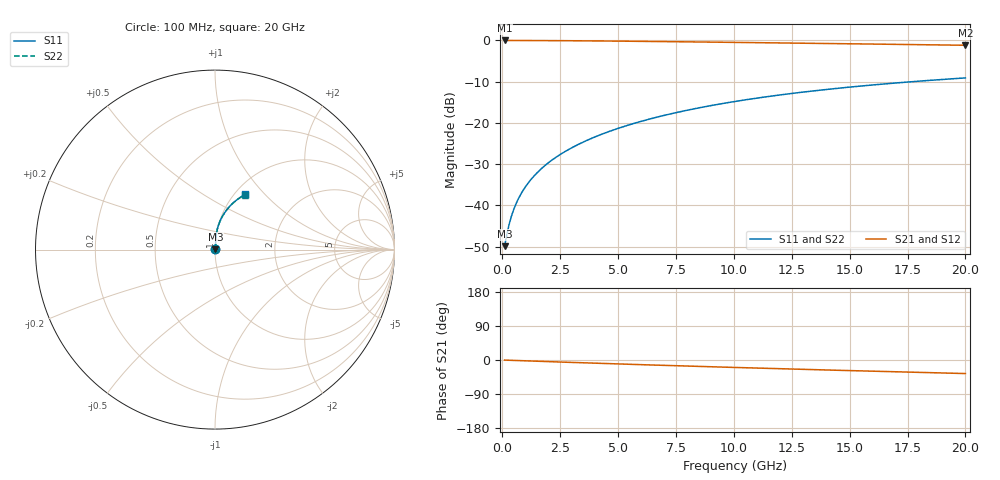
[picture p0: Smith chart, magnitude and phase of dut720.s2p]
! Touchstone file exported from HFSS 2024.1.0
!  File:  C:/UserFiles/LocalFiles/RDL_TSV_Batchsim/temp_RDL_bottom_720_1779858438.aedt
!  Generated:  01:09:50 PM May 27, 2026
!  Design:  RDL_bottom
!  Project:  temp_RDL_bottom_720_1779858438
!  Setup:  Setup1
!  Solution:  Sweep
! Variables:
!  dtsv = 10.80580581um
!  hbump = 3um
!  htsv = 65.03um
!  ldown = 473.03um
!  lrdl = 100um
!  p = 40
!  p1 = 55.29um
!  rhole = 1um
!  t = 450um
!  tdown = 2.98um
!  trdl = 3.915915916um
!  wdown = 23.44um
!  wrdl = 20um
# GHz S MA R 50.000000
! Terminal data exported
! Port[1] = RDL1_T1
! Port[2] = RDL1_T2
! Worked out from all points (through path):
!   200 points, 100 MHz to 20 GHz, reference 50 ohm
!   highest |S21| = -0.02 dB at 100 MHz (marker M1); lowest = -1.2 dB at 20 GHz (marker M2)
!   group delay of S21, straight-line fit = 4.92 ps
!   lowest |S11| = -49.9 dB at 100 MHz (marker M3), VSWR 1.01, Z = 50.3 + j0.18 ohm
!   |S11| at or under -10 dB: start of sweep to 17.74 GHz
!   |S22| runs from -49.9 to -9.1 dB; largest |S21 - S12| = 2.2e-15
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0.1  0.003195 34.0  0.9973 -0.2  0.9973 -0.2  0.003195 34.0
! Gamma 0 0 0 0
! Port Impedance 50 0 50 0
0.2  0.004475 52.1  0.9972 -0.4  0.9972 -0.4  0.004475 52.1
0.3  0.005949 61.1  0.9971 -0.7  0.9971 -0.7  0.005949 61.1
0.4  0.007466 66.4  0.9969 -0.9  0.9969 -0.9  0.007466 66.4
0.5  0.008994 70.0  0.9967 -1.1  0.9967 -1.1  0.008994 70.0
0.6  0.01053 72.6  0.9965 -1.3  0.9965 -1.3  0.01053 72.6
0.8  0.01362 76.2  0.9962 -1.7  0.9962 -1.7  0.01363 76.2
1.1  0.01834 79.5  0.9957 -2.4  0.9957 -2.4  0.01834 79.5
1.3  0.02153 81.0  0.9953 -2.8  0.9953 -2.8  0.02153 81.0
1.6  0.02638 82.5  0.9945 -3.4  0.9945 -3.4  0.02638 82.5
2.1  0.0346 84.1  0.9931 -4.5  0.9931 -4.5  0.03459 84.1
2.7  0.04469 85.1  0.9909 -5.7  0.9909 -5.7  0.04469 85.1
3.5  0.05854 85.6  0.9873 -7.4  0.9873 -7.4  0.05854 85.6
4.2  0.07102 85.5  0.9837 -8.8  0.9837 -8.8  0.07101 85.5
5  0.08563 85.1  0.9792 -10.4  0.9792 -10.4  0.08562 85.1
5.9  0.1024 84.3  0.9736 -12.1  0.9736 -12.1  0.1024 84.3
6.8  0.1195 83.2  0.9677 -13.8  0.9677 -13.8  0.1195 83.2
8.4  0.1501 80.9  0.9568 -16.8  0.9568 -16.8  0.1501 80.9
10.1  0.1826 78.1  0.9448 -19.8  0.9448 -19.8  0.1825 78.1
13.4  0.2433 72.3  0.9209 -25.4  0.9209 -25.4  0.2432 72.3
16.7  0.2995 66.6  0.8965 -30.7  0.8965 -30.7  0.2994 66.6
20  0.3505 61.2  0.8719 -35.7  0.8719 -35.7  0.3503 61.1
